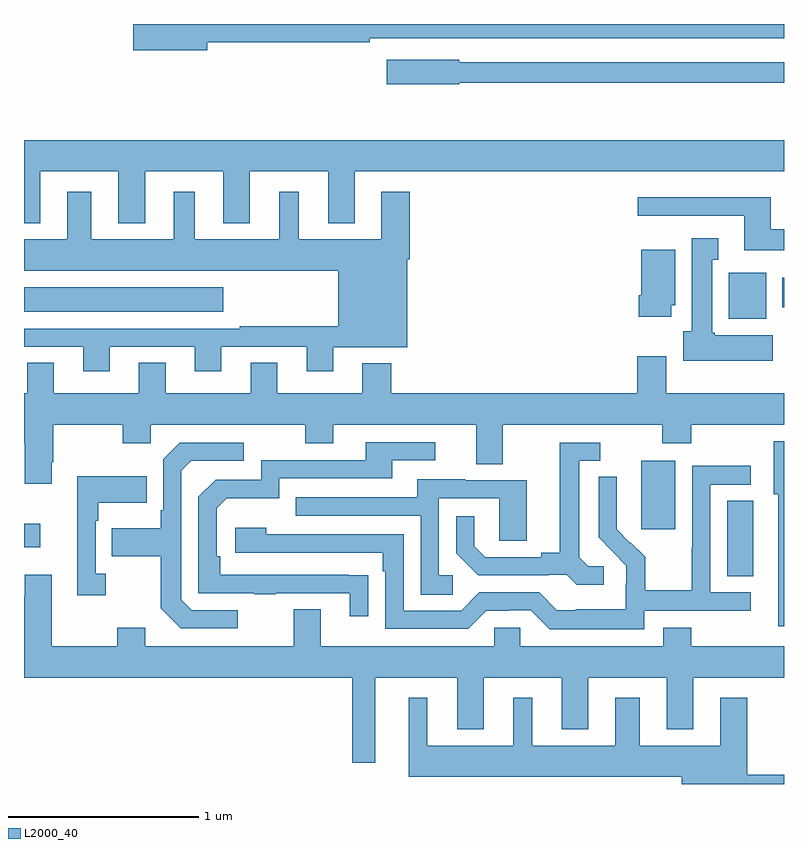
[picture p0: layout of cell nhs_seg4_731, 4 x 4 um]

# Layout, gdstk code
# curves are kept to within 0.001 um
import gdstk
lib = gdstk.Library(unit=1e-6, precision=1e-09)
def R(c, l, rs):  # rectangles x0, y0, x1, y1
    for r in rs: c.add(gdstk.rectangle(r[:2], r[2:], *l))
def P(c, l, *ps):  # polygons
    for p in ps: c.add(gdstk.Polygon(p, *l))
L2000_40 = (2000, 40)

nhs_seg4_731 = lib.new_cell('nhs_seg4_731')
R(nhs_seg4_731, L2000_40, [(150.701,823.993,150.838,824.39), (147,824.147,147.085,824.269), (150.248,824.241,150.427,824.602), (150.71,825.35,150.907,825.592), (147,825.386,148.048,825.514), (150.992,825.409,151,825.565)])
P(nhs_seg4_731, L2000_40, [(147.964,826.804),(148.82,826.804),(148.82,826.824),(151,826.824),(151,826.9),(147.576,826.9),(147.576,826.762),(147.964,826.762)],
  [(149.292,826.59),(151,826.59),(151,826.698),(149.292,826.698),(149.292,826.711),(148.908,826.711),(148.908,826.582),(149.292,826.582)],
  [(147.085,826.124),(147.497,826.124),(147.497,825.851),(147.637,825.851),(147.637,826.124),(148.049,826.124),(148.049,825.851),(148.189,825.851),(148.189,826.124),(148.601,826.124),(148.601,825.851),(148.741,825.851),(148.741,826.124),(151,826.124),(151,826.288),(147,826.288),(147,825.851),(147.085,825.851)],
  [(147.451,825.201),(147.899,825.201),(147.899,825.072),(148.039,825.072),(148.039,825.201),(148.487,825.201),(148.487,825.072),(148.627,825.072),(148.627,825.2),(149.017,825.2),(149.017,825.662),(149.03,825.662),(149.03,826.018),(148.88,826.018),(148.88,825.766),(148.447,825.766),(148.447,826.018),(148.343,826.018),(148.343,825.766),(147.898,825.766),(147.898,826.018),(147.788,826.018),(147.788,825.766),(147.355,825.766),(147.355,826.018),(147.227,826.018),(147.227,825.766),(147,825.766),(147,825.602),(148.655,825.602),(148.655,825.31),(148.135,825.31),(148.135,825.297),(147,825.297),(147,825.201),(147.311,825.201),(147.311,825.072),(147.451,825.072)],
  [(151,825.82),(150.931,825.82),(150.931,825.988),(150.231,825.988),(150.231,825.891),(150.791,825.891),(150.791,825.71),(151,825.71)],
  [(150.94,825.262),(150.636,825.262),(150.636,825.276),(150.622,825.276),(150.622,825.659),(150.655,825.659),(150.655,825.772),(150.515,825.772),(150.515,825.282),(150.47,825.282),(150.47,825.128),(150.94,825.128)],
  [(150.406,825.42),(150.427,825.42),(150.427,825.712),(150.248,825.712),(150.248,825.472),(150.236,825.472),(150.236,825.36),(150.406,825.36)],
  [(147.145,824.593),(147.153,824.593),(147.153,824.792),(147.52,824.792),(147.52,824.693),(147.666,824.693),(147.666,824.792),(148.48,824.792),(148.48,824.693),(148.627,824.693),(148.627,824.792),(149.381,824.792),(149.381,824.584),(149.521,824.584),(149.521,824.792),(150.358,824.792),(150.358,824.693),(150.513,824.693),(150.513,824.792),(151,824.792),(151,824.956),(150.379,824.956),(150.379,825.151),(150.227,825.151),(150.227,824.956),(148.934,824.956),(148.934,825.115),(148.781,825.115),(148.781,824.956),(148.333,824.956),(148.333,825.116),(148.193,825.116),(148.193,824.956),(147.745,824.956),(147.745,825.116),(147.605,825.116),(147.605,824.956),(147.157,824.956),(147.157,825.116),(147.017,825.116),(147.017,824.956),(147,824.956),(147,824.696),(147.005,824.696),(147.005,824.481),(147.145,824.481)],
  [(151,824.704),(150.947,824.704),(150.947,824.424),(150.971,824.424),(150.971,823.731),(151,823.731)],
  [(148.811,824),(148.034,824.001),(148.034,824.098),(148.014,824.098),(148.014,824.352),(148.067,824.405),(148.344,824.405),(148.344,824.508),(148.939,824.508),(148.939,824.604),(149.164,824.604),(149.164,824.7),(148.799,824.7),(148.799,824.604),(148.248,824.604),(148.248,824.502),(148.008,824.502),(147.918,824.412),(147.918,823.905),(148.213,823.905),(148.213,823.9),(148.325,823.9),(148.325,823.905),(148.715,823.905),(148.715,823.782),(148.811,823.782)],
  [(150.052,824.046),(149.97,824.046),(149.923,824.093),(149.923,824.601),(150.034,824.601),(150.034,824.697),(149.819,824.697),(149.819,824.117),(149.723,824.117),(149.723,824.094),(149.428,824.094),(149.371,824.151),(149.371,824.308),(149.274,824.308),(149.274,824.114),(149.39,823.998),(149.762,823.998),(149.762,824.001),(149.856,824.001),(149.908,823.949),(150.052,823.949)],
  [(148.126,823.815),(147.882,823.815),(147.828,823.869),(147.828,824.55),(147.879,824.601),(148.156,824.601),(148.156,824.697),(147.819,824.697),(147.732,824.61),(147.732,824.341),(147.72,824.341),(147.72,824.245),(147.463,824.245),(147.463,824.098),(147.72,824.098),(147.72,823.825),(147.825,823.719),(148.126,823.719)],
  [(150.264,823.812),(150.826,823.812),(150.826,823.908),(150.612,823.908),(150.612,824.475),(150.826,824.475),(150.826,824.574),(150.516,824.574),(150.516,824.144),(150.514,824.144),(150.514,823.921),(150.269,823.921),(150.269,824.095),(150.192,824.172),(150.189,824.169),(150.119,824.24),(150.12,824.516),(150.024,824.516),(150.024,824.198),(150.17,824.05),(150.17,823.953),(150.168,823.953),(150.168,823.819),(149.905,823.819),(149.905,823.815),(149.805,823.815),(149.712,823.908),(149.397,823.908),(149.301,823.812),(148.998,823.812),(148.998,824.214),(148.274,824.214),(148.274,824.248),(148.113,824.248),(148.113,824.118),(148.889,824.118),(148.889,824.021),(148.902,824.021),(148.902,823.716),(149.337,823.716),(149.433,823.812),(149.552,823.812),(149.552,823.815),(149.667,823.815),(149.767,823.715),(150.264,823.715)],
  [(147.43,824.006),(147.378,824.006),(147.378,824.285),(147.391,824.285),(147.391,824.381),(147.647,824.381),(147.647,824.521),(147.281,824.521),(147.281,823.893),(147.43,823.893)],
  [(149.257,823.998),(149.184,823.998),(149.184,824.403),(149.502,824.403),(149.502,824.179),(149.647,824.179),(149.647,824.499),(149.323,824.499),(149.323,824.503),(149.069,824.503),(149.069,824.409),(148.429,824.409),(148.429,824.313),(149.088,824.313),(149.088,823.897),(149.257,823.897)],
  [(148.849,823.46),(149.279,823.46),(149.279,823.187),(149.419,823.187),(149.419,823.46),(149.831,823.46),(149.831,823.187),(149.971,823.187),(149.971,823.46),(150.383,823.46),(150.383,823.187),(150.523,823.187),(150.523,823.46),(151,823.46),(151,823.624),(150.513,823.624),(150.513,823.723),(150.365,823.723),(150.365,823.624),(149.613,823.624),(149.613,823.722),(149.475,823.722),(149.475,823.624),(148.561,823.624),(148.561,823.819),(148.421,823.819),(148.421,823.624),(147.637,823.624),(147.637,823.723),(147.49,823.723),(147.49,823.624),(147.145,823.624),(147.145,824.002),(147.005,824.002),(147.005,823.889),(147,823.889),(147,823.46),(148.728,823.46),(148.728,823.011),(148.849,823.011)],
  [(151,822.95),(150.806,822.95),(150.806,823.354),(150.665,823.354),(150.665,823.102),(150.241,823.102),(150.241,823.354),(150.113,823.354),(150.113,823.102),(149.674,823.102),(149.674,823.354),(149.576,823.354),(149.576,823.102),(149.122,823.102),(149.122,823.354),(149.024,823.354),(149.024,822.938),(150.461,822.938),(150.461,822.9),(151,822.9)])

lib.write_gds('nhs_seg4_731.gds')
